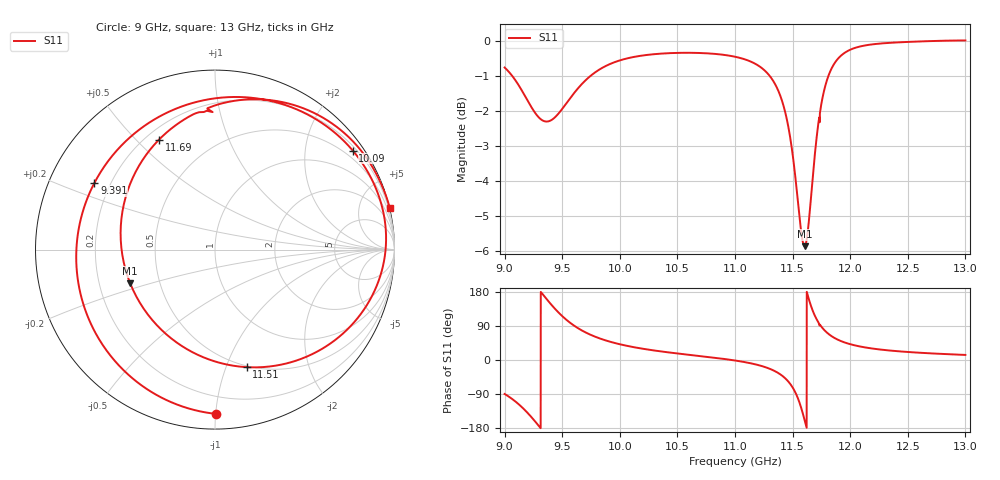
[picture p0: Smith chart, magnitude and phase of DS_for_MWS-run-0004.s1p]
! TOUCHSTONE file generated by CST DESIGN STUDIO
! Date and time: Tue Feb  4 13:42:56 2025
! Project name: C:\Work\MatlabApps\UnitCellOptimizationMatlab\CST\unitcell.cst
! Tree item: Tasks\Sweep1\SPara1\S-Parameters
! Header version: 2024
! Port assignment regex: !\s*Touchstone port\s*([0-9]+)\s*=\s*(CST MWS port|CST DES external port|CST DES block port)\s*(.+)\s* \(\"(.*)\"\)(\s*mode\s*([0-9]+))?.*
! Touchstone port assignment:
! Touchstone port 1 = CST DES external port 1 ("")
# GHz S MA R 50
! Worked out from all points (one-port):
!   4001 points, 9 GHz to 13 GHz, reference 50 ohm
!   lowest |S11| = -5.9 dB at 11.6 GHz (marker M1), VSWR 3.07, Z = 16.8 - j8.53 ohm
!   |S11| at or under -10 dB: nowhere
!   S11 on the Smith chart (normalised r, x): 9 GHz: 0.09, -1.00; 9.391 GHz: 0.14, +0.25; 10.09 GHz: 0.30, +3.08; 11.51 GHz: 0.49, -1.18; 11.69 GHz: 0.25, +0.58; 13 GHz: -0.02, +8.51
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9  0.9153 -89.6
9.125  0.8619 -117.5
9.243  0.7983 -154.3
9.316  0.7716 178.9
9.391  0.7678 151.1
9.5  0.7987 115.9
9.603  0.8414 90.7
9.737  0.8879 67.8
10  0.937 41.6
10.09  0.9454 35.7
10.5  0.9604 17.2
11  0.9484 -1.3
11.201  0.9214 -13.3
11.332  0.8757 -27.3
11.425  0.8028 -45.3
11.5  0.6884 -72.4
11.505  0.6784 -74.9
11.556  0.5678 -109.1
11.604  0.5085 -158.3
11.645  0.5604 156.4
11.693  0.6873 117.0
11.756  0.8227 85.7
11.831  0.9072 64.4
11.906  0.9469 51.7
12  0.9705 41.7
12.192  0.9878 30.3
12.5  0.9957 21.1
13  1.001 13.4
